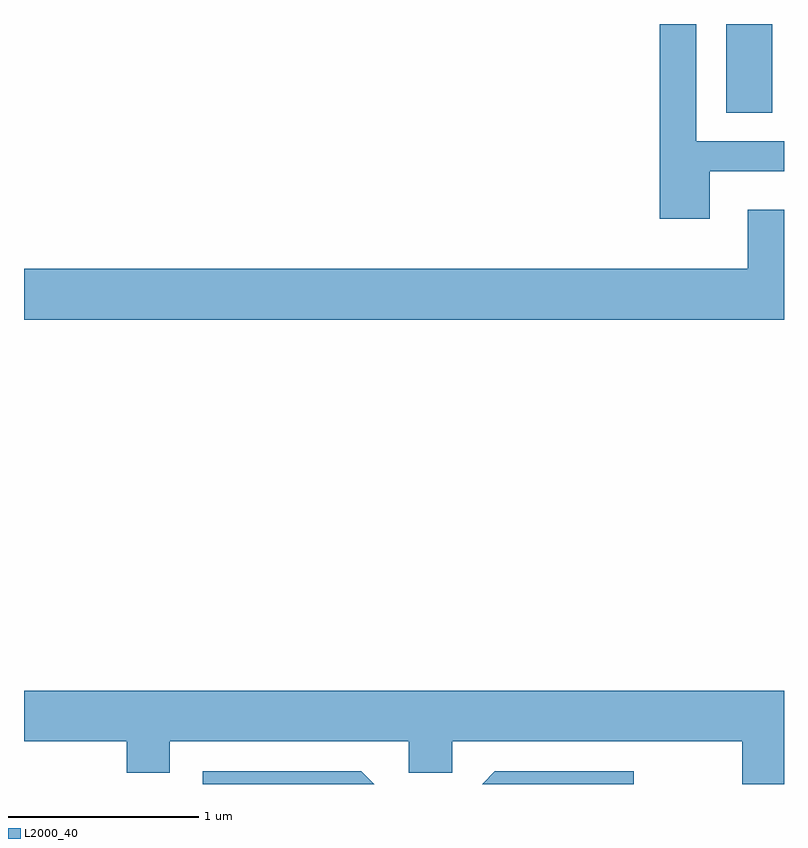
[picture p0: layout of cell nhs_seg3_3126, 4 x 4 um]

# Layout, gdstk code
import gdstk
lib = gdstk.Library(unit=1e-6, precision=1e-09)
def R(c, l, rs):  # rectangles x0, y0, x1, y1
    for r in rs: c.add(gdstk.rectangle(r[:2], r[2:], *l))
def P(c, l, *ps):  # polygons
    for p in ps: c.add(gdstk.Polygon(p, *l))
L2000_40 = (2000, 40)

nhs_seg3_3126 = lib.new_cell('nhs_seg3_3126')
R(nhs_seg3_3126, L2000_40, [(279.306,1251.426,279.549,1251.892)])
P(nhs_seg3_3126, L2000_40, [(279.219,1251.116),(279.611,1251.116),(279.611,1251.274),(279.149,1251.274),(279.149,1251.892),(278.956,1251.892),(278.956,1250.866),(279.219,1250.866)],
  [(279.611,1250.914),(279.421,1250.914),(279.421,1250.604),(275.611,1250.604),(275.611,1250.336),(279.611,1250.336)],
  [(279.611,1248.384),(275.611,1248.384),(275.611,1248.116),(276.151,1248.116),(276.151,1247.951),(276.379,1247.951),(276.379,1248.116),(277.636,1248.116),(277.636,1247.951),(277.864,1247.951),(277.864,1248.116),(279.391,1248.116),(279.391,1247.892),(279.611,1247.892)],
  [(278.819,1247.959),(278.089,1247.959),(278.022,1247.892),(278.819,1247.892)],
  [(277.387,1247.959),(276.551,1247.959),(276.551,1247.892),(277.454,1247.892)])

lib.write_gds('nhs_seg3_3126.gds')
